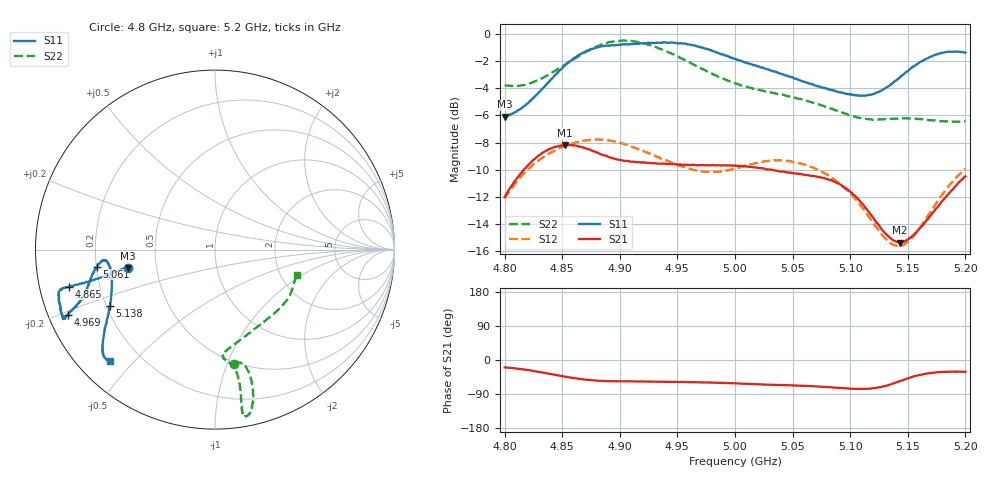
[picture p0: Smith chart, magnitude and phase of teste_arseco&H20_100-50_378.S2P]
! Network Analyzer HP8722D
! Hewlett-Packard
! Data name: Linha & Wilkinson
! Saver's name: Rodrigo Anjos
! Comments: Teste da utilização de aquisição
! continua pelo VNA HP8722D
! Time and date: 6/5/2025 15:43
!  Frequency  S11  S21  S12  S22
# HZ  S  MA R 50
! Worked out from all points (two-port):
!   401 points, 4.8 GHz to 5.2 GHz, reference 50 ohm
!   highest |S21| = -8.17 dB at 4.852 GHz (marker M1); lowest = -15.3 dB at 5.143 GHz (marker M2)
!   |S21| within 3 dB of the highest: 4.806 GHz to 5.093 GHz (286.6 MHz wide, 5.79 % of centre); 5.191951 GHz to end of sweep
!   lowest |S11| = -6.1 dB at 4.8 GHz (marker M3), VSWR 2.97, Z = 17 - j4.6 ohm
!   |S11| at or under -10 dB: nowhere
!   |S22| runs from -6.5 to -0.5 dB; largest |S21 - S12| = 0.62
!   S11 on the Smith chart (normalised r, x): 4.8 GHz: 0.34, -0.09; 4.865 GHz: 0.09, -0.12; 4.969 GHz: 0.06, -0.21; 5.061 GHz: 0.20, -0.07; 5.138 GHz: 0.21, -0.24; 5.2 GHz: 0.09, -0.43
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4.8e9  0.496 -168.1  0.2513 -19.6  0.2478 -140.7  0.6479 -80.4
4.823e9  0.57 -167.4  0.3374 -27.9  0.3244 -143.6  0.6598 -76.0
4.852e9  0.7632 -165.8  0.3906 -43.7  0.3861 -149.3  0.7677 -74.4
4.865e9  0.8394 -165.8  0.3843 -49.8  0.4011 -151.5  0.8318 -75.2
4.867e9  0.8486 -165.7  0.3835 -50.6  0.403 -151.8  0.8418 -75.3
4.883e9  0.8963 -165.1  0.3614 -54.8  0.4086 -154.6  0.9095 -77.1
4.902e9  0.9134 -162.1  0.3427 -56.3  0.3955 -156.8  0.9446 -79.2
4.934e9  0.928 -156.3  0.333 -57.4  0.3517 -155.6  0.8843 -80.4
4.969e9  0.8944 -156.1  0.3282 -58.9  0.3131 -147.2  0.7524 -79.6
5e9  0.8108 -158.9  0.3278 -61.7  0.3198 -137.1  0.658 -81.2
5.036e9  0.7244 -165.5  0.3138 -65.8  0.3419 -134.4  0.6032 -85.7
5.061e9  0.664 -171.8  0.3029 -68.2  0.3295 -136.2  0.5707 -83.9
5.067e9  0.6522 -172.9  0.3 -69.0  0.3235 -136.7  0.5595 -82.7
5.087e9  0.6176 -174.4  0.2849 -72.9  0.2897 -138.5  0.524 -74.8
5.103e9  0.5955 -171.4  0.2557 -75.9  0.2512 -138.6  0.4978 -65.3
5.117e9  0.5967 -164.8  0.2185 -75.5  0.21 -135.1  0.485 -55.2
5.134e9  0.6442 -154.3  0.1787 -65.3  0.1707 -120.9  0.4863 -43.3
5.138e9  0.6663 -151.7  0.1735 -61.2  0.1675 -115.6  0.487 -40.8
5.143e9  0.6908 -149.2  0.1708 -55.9  0.1656 -109.0  0.4876 -38.0
5.154e9  0.7565 -144.4  0.1808 -44.5  0.1782 -95.0  0.488 -32.3
5.172e9  0.8318 -138.8  0.2206 -33.5  0.229 -81.0  0.4803 -24.5
5.2e9  0.8527 -133.5  0.2993 -31.3  0.3191 -76.7  0.4774 -17.5
